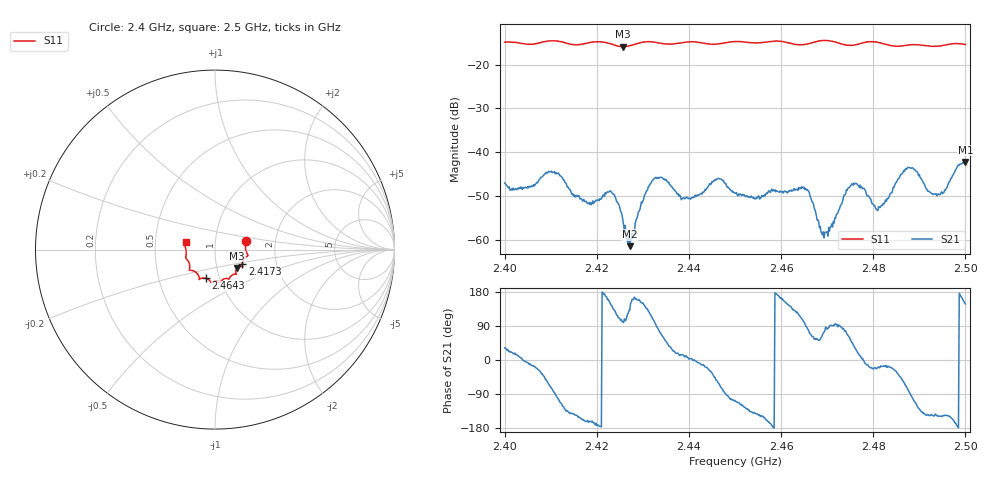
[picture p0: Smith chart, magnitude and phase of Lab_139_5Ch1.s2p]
# Hz S RI R 50
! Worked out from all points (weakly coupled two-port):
!   601 points, 2.4 GHz to 2.5 GHz, reference 50 ohm
!   highest |S21| = -42.20 dB at 2.5 GHz (marker M1); lowest = -61.4 dB at 2.4272 GHz (marker M2)
!   lowest |S11| = -15.9 dB at 2.4257 GHz (marker M3), VSWR 1.38, Z = 62.4 - j13.1 ohm
!   |S11| at or under -10 dB: start of sweep to end of sweep
!   S12 and S22 are empty: the file has one direction only
!   S11 on the Smith chart (normalised r, x): 2.4 GHz: 1.41, +0.14; 2.4173 GHz: 1.34, -0.23; 2.4643 GHz: 0.86, -0.28; 2.5 GHz: 0.72, +0.06
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2.4e9  0.1733 0.0496  0.00379 0.00236  0 0  0 0
2.405667e9  0.17 0.00516  0.00391 -0.000893  0 0  0 0
2.410333e9  0.1838 -0.0332  0.00129 -0.00572  0 0  0 0
2.416667e9  0.1527 -0.0749  -0.00267 -0.00123  0 0  0 0
2.417333e9  0.1521 -0.0822  -0.00258 -0.000939  0 0  0 0
2.423167e9  0.1439 -0.0933  -0.00284 0.00209  0 0  0 0
2.425667e9  0.1225 -0.1025  -0.000304 0.00165  0 0  0 0
2.427167e9  0.116 -0.1158  -0.000566 0.00063  0 0  0 0
2.430833e9  0.1191 -0.1379  -0.00259 0.00253  0 0  0 0
2.433333e9  0.1128 -0.1366  0.00075 0.0051  0 0  0 0
2.438833e9  0.0811 -0.1588  0.00294 0.000679  0 0  0 0
2.4465e9  0.0437 -0.1667  0.00235 -0.00445  0 0  0 0
2.45e9  0.0297 -0.1807  -0.000974 -0.00325  0 0  0 0
2.464333e9  -0.0502 -0.1604  -0.00141 0.00356  0 0  0 0
2.466667e9  -0.0762 -0.1599  0.00127 0.00246  0 0  0 0
2.469667e9  -0.0878 -0.1667  7.36e-05 0.00122  0 0  0 0
2.4755e9  -0.1118 -0.1224  0.00307 0.00307  0 0  0 0
2.481e9  -0.1423 -0.1092  0.00203 -0.000726  0 0  0 0
2.483333e9  -0.1407 -0.0895  0.00288 -0.000917  0 0  0 0
2.488e9  -0.1602 -0.0509  9.29e-05 -0.00666  0 0  0 0
2.494833e9  -0.1638 0.00831  -0.00304 -0.0018  0 0  0 0
2.5e9  -0.1636 0.042  -0.00658 0.00412  0 0  0 0
